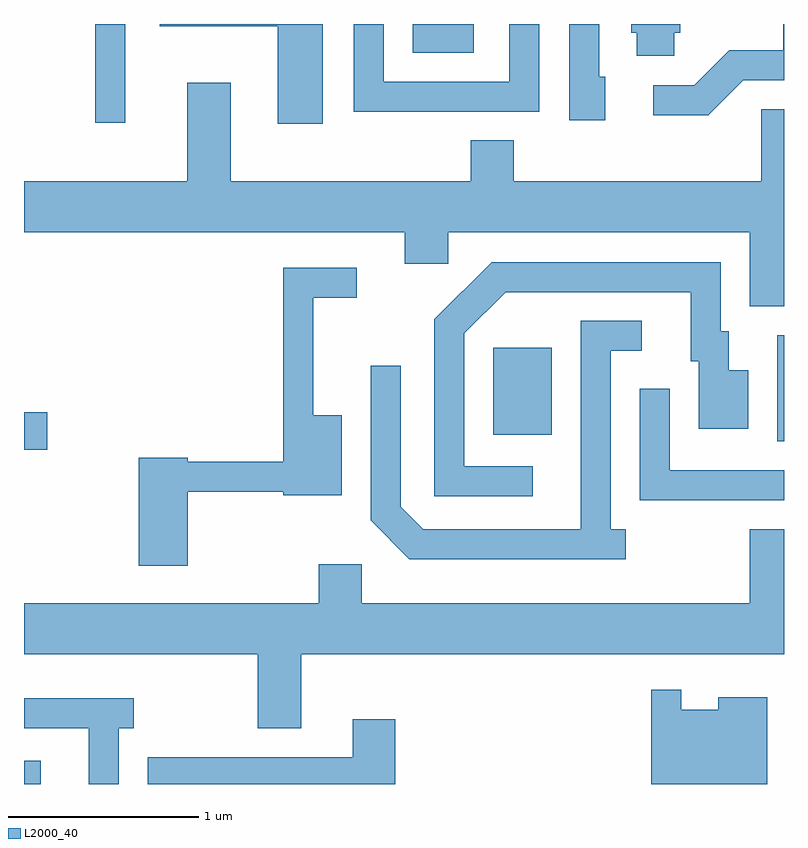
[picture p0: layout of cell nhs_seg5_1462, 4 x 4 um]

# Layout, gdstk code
import gdstk
lib = gdstk.Library(unit=1e-6, precision=1e-09)
def R(c, l, rs):  # rectangles x0, y0, x1, y1
    for r in rs: c.add(gdstk.rectangle(r[:2], r[2:], *l))
def P(c, l, *ps):  # polygons
    for p in ps: c.add(gdstk.Polygon(p, *l))
L2000_40 = (2000, 40)

nhs_seg5_1462 = lib.new_cell('nhs_seg5_1462')
R(nhs_seg5_1462, L2000_40, [(227.611,1496.072,227.698,1496.194), (227.611,1497.831,227.734,1498.029), (231.576,1497.876,231.611,1498.434), (230.081,1497.911,230.389,1498.369), (227.986,1499.553,228.144,1500.072), (229.656,1499.921,229.979,1500.072)])
P(nhs_seg5_1462, L2000_40, [(229.184,1500.072),(228.326,1500.072),(228.326,1500.061),(228.946,1500.061),(228.946,1499.546),(229.184,1499.546)],
  [(231.034,1500.026),(231.064,1500.026),(231.064,1500.072),(230.806,1500.072),(230.806,1500.026),(230.836,1500.026),(230.836,1499.906),(231.034,1499.906)],
  [(230.669,1499.794),(230.639,1499.794),(230.639,1500.072),(230.481,1500.072),(230.481,1499.566),(230.669,1499.566)],
  [(231.397,1499.776),(231.611,1499.776),(231.611,1500.072),(231.606,1500.072),(231.606,1499.934),(231.324,1499.934),(231.139,1499.749),(230.923,1499.749),(230.923,1499.591),(231.212,1499.591)],
  [(230.324,1500.072),(230.166,1500.072),(230.166,1499.769),(229.504,1499.769),(229.504,1500.072),(229.346,1500.072),(229.346,1499.611),(230.324,1499.611)],
  [(231.611,1499.624),(231.491,1499.624),(231.491,1499.244),(230.189,1499.244),(230.189,1499.459),(229.961,1499.459),(229.961,1499.244),(228.699,1499.244),(228.699,1499.764),(228.471,1499.764),(228.471,1499.244),(227.611,1499.244),(227.611,1498.976),(229.616,1498.976),(229.616,1498.811),(229.844,1498.811),(229.844,1498.976),(231.431,1498.976),(231.431,1498.586),(231.611,1498.586)],
  [(230.288,1497.744),(229.929,1497.744),(229.929,1498.444),(230.147,1498.661),(231.121,1498.661),(231.121,1498.296),(231.161,1498.296),(231.161,1497.941),(231.424,1497.941),(231.424,1498.249),(231.319,1498.249),(231.319,1498.454),(231.279,1498.454),(231.279,1498.819),(230.074,1498.819),(229.771,1498.517),(229.771,1497.586),(230.288,1497.586)],
  [(228.474,1497.611),(228.976,1497.611),(228.976,1497.591),(229.284,1497.591),(229.284,1498.014),(229.134,1498.014),(229.134,1498.631),(229.363,1498.631),(229.363,1498.789),(228.976,1498.789),(228.976,1497.769),(228.474,1497.769),(228.474,1497.789),(228.216,1497.789),(228.216,1497.221),(228.474,1497.221)],
  [(230.778,1497.414),(230.699,1497.414),(230.699,1498.351),(230.863,1498.351),(230.863,1498.509),(230.541,1498.509),(230.541,1497.414),(229.712,1497.414),(229.594,1497.532),(229.594,1498.273),(229.436,1498.273),(229.436,1497.459),(229.639,1497.256),(230.778,1497.256)],
  [(231.611,1497.724),(231.009,1497.724),(231.009,1498.153),(230.851,1498.153),(230.851,1497.566),(231.611,1497.566)],
  [(229.069,1496.756),(231.611,1496.756),(231.611,1497.414),(231.431,1497.414),(231.431,1497.024),(229.389,1497.024),(229.389,1497.229),(229.161,1497.229),(229.161,1497.024),(227.611,1497.024),(227.611,1496.756),(228.841,1496.756),(228.841,1496.366),(229.069,1496.366)],
  [(231.524,1496.529),(231.266,1496.529),(231.266,1496.464),(231.069,1496.464),(231.069,1496.568),(230.911,1496.568),(230.911,1496.072),(231.524,1496.072)],
  [(228.109,1496.366),(228.188,1496.366),(228.188,1496.524),(227.611,1496.524),(227.611,1496.366),(227.951,1496.366),(227.951,1496.072),(228.109,1496.072)],
  [(229.564,1496.414),(229.341,1496.414),(229.341,1496.214),(228.261,1496.214),(228.261,1496.072),(229.564,1496.072)])

lib.write_gds('nhs_seg5_1462.gds')
